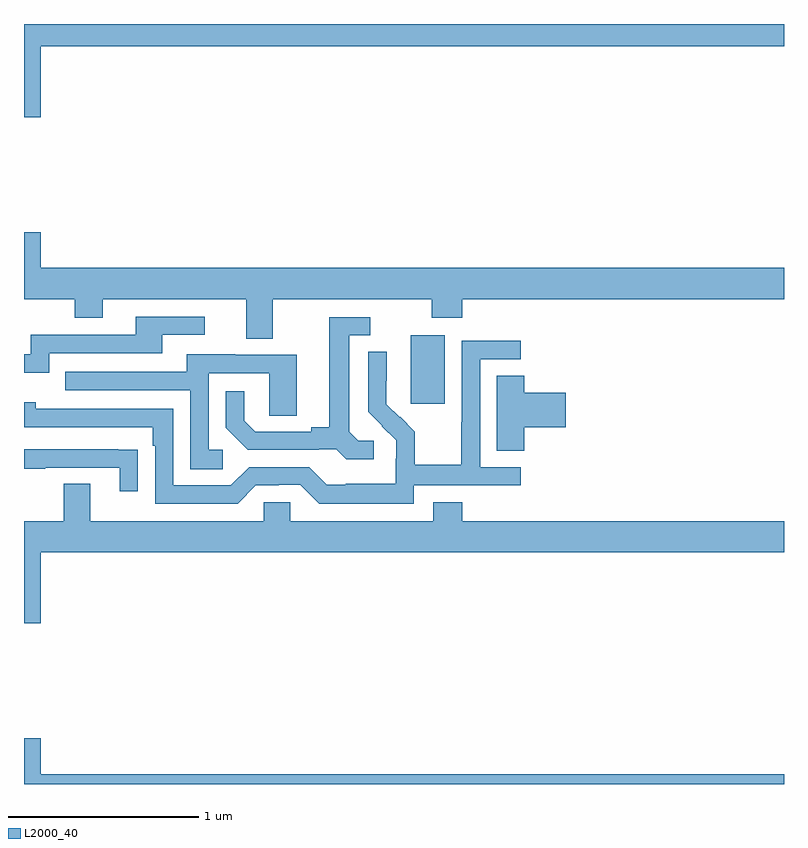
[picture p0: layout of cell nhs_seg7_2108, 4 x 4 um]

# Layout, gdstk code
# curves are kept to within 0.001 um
import gdstk
lib = gdstk.Library(unit=1e-6, precision=1e-09)
def R(c, l, rs):  # rectangles x0, y0, x1, y1
    for r in rs: c.add(gdstk.rectangle(r[:2], r[2:], *l))
def P(c, l, *ps):  # polygons
    for p in ps: c.add(gdstk.Polygon(p, *l))
L2000_40 = (2000, 40)

nhs_seg7_2108 = lib.new_cell('nhs_seg7_2108')
R(nhs_seg7_2108, L2000_40, [(251.036,1064.001,251.215,1064.362)])
P(nhs_seg7_2108, L2000_40, [(249.088,1065.884),(253,1065.884),(253,1066),(249,1066),(249,1065.51),(249.088,1065.51)],
  [(250.309,1064.552),(251.146,1064.552),(251.146,1064.453),(251.306,1064.453),(251.306,1064.552),(253,1064.552),(253,1064.716),(249.088,1064.716),(249.088,1064.905),(249,1064.905),(249,1064.552),(249.268,1064.552),(249.268,1064.453),(249.415,1064.453),(249.415,1064.552),(250.169,1064.552),(250.169,1064.344),(250.309,1064.344)],
  [(249.132,1064.268),(249.727,1064.268),(249.727,1064.364),(249.952,1064.364),(249.952,1064.46),(249.587,1064.46),(249.587,1064.364),(249.036,1064.364),(249.036,1064.262),(249,1064.262),(249,1064.165),(249.132,1064.165)],
  [(250.84,1063.806),(250.758,1063.806),(250.711,1063.853),(250.711,1064.361),(250.822,1064.361),(250.822,1064.457),(250.607,1064.457),(250.607,1063.877),(250.511,1063.877),(250.511,1063.854),(250.216,1063.854),(250.159,1063.911),(250.159,1064.068),(250.062,1064.068),(250.062,1063.874),(250.178,1063.758),(250.55,1063.758),(250.55,1063.761),(250.644,1063.761),(250.696,1063.709),(250.84,1063.709)],
  [(251.052,1063.572),(251.614,1063.572),(251.614,1063.668),(251.4,1063.668),(251.4,1064.235),(251.614,1064.235),(251.614,1064.334),(251.304,1064.334),(251.304,1063.904),(251.302,1063.904),(251.302,1063.681),(251.057,1063.681),(251.057,1063.855),(250.98,1063.932),(250.977,1063.929),(250.907,1064),(250.908,1064.276),(250.812,1064.276),(250.812,1063.958),(250.958,1063.81),(250.958,1063.713),(250.956,1063.713),(250.956,1063.579),(250.693,1063.579),(250.693,1063.575),(250.593,1063.575),(250.5,1063.668),(250.185,1063.668),(250.089,1063.572),(249.786,1063.572),(249.786,1063.974),(249.062,1063.974),(249.062,1064.008),(249,1064.008),(249,1063.878),(249.677,1063.878),(249.677,1063.781),(249.69,1063.781),(249.69,1063.476),(250.125,1063.476),(250.221,1063.572),(250.34,1063.572),(250.34,1063.575),(250.455,1063.575),(250.555,1063.475),(251.052,1063.475)],
  [(250.045,1063.758),(249.972,1063.758),(249.972,1064.163),(250.29,1064.163),(250.29,1063.939),(250.435,1063.939),(250.435,1064.259),(250.111,1064.259),(250.111,1064.263),(249.857,1064.263),(249.857,1064.169),(249.217,1064.169),(249.217,1064.073),(249.876,1064.073),(249.876,1063.657),(250.045,1063.657)],
  [(251.633,1063.877),(251.851,1063.877),(251.851,1064.06),(251.633,1064.06),(251.633,1064.15),(251.489,1064.15),(251.489,1063.753),(251.633,1063.753)],
  [(249.599,1063.76),(249.497,1063.76),(249.497,1063.761),(249,1063.761),(249,1063.665),(249.001,1063.665),(249.001,1063.66),(249.113,1063.66),(249.113,1063.665),(249.503,1063.665),(249.503,1063.542),(249.599,1063.542)],
  [(249.088,1063.22),(253,1063.22),(253,1063.384),(251.306,1063.384),(251.306,1063.483),(251.153,1063.483),(251.153,1063.384),(250.401,1063.384),(250.401,1063.482),(250.263,1063.482),(250.263,1063.384),(249.349,1063.384),(249.349,1063.579),(249.209,1063.579),(249.209,1063.384),(249,1063.384),(249,1062.846),(249.088,1062.846)],
  [(253,1062.052),(249.088,1062.052),(249.088,1062.241),(249,1062.241),(249,1062),(253,1062)])

lib.write_gds('nhs_seg7_2108.gds')
